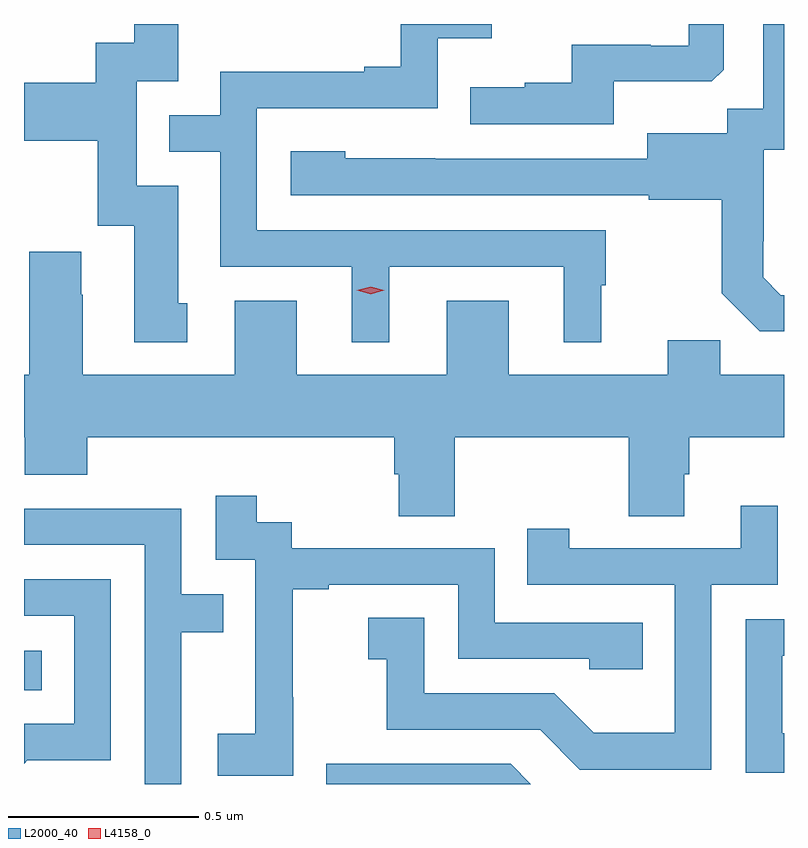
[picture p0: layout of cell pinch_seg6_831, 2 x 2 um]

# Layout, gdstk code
import gdstk
lib = gdstk.Library(unit=1e-6, precision=1e-09)
def R(c, l, rs):  # rectangles x0, y0, x1, y1
    for r in rs: c.add(gdstk.rectangle(r[:2], r[2:], *l))
def P(c, l, *ps):  # polygons
    for p in ps: c.add(gdstk.Polygon(p, *l))
L2000_40 = (2000, 40)
L4158_0 = (4158, 0)

pinch_seg6_831 = lib.new_cell('pinch_seg6_831')
R(pinch_seg6_831, L2000_40, [(191.445,990.626,191.492,990.73)])
P(pinch_seg6_831, L2000_40, [(192.997,992.228),(193.255,992.228),(193.287,992.259),(193.287,992.379),(193.194,992.379),(193.194,992.322),(193.094,992.322),(193.094,992.325),(192.887,992.325),(192.887,992.224),(192.763,992.224),(192.763,992.212),(192.619,992.212),(192.619,992.115),(192.997,992.115)],
  [(192.406,991.74),(192.866,991.74),(192.866,991.541),(192.964,991.541),(192.964,991.692),(192.976,991.692),(192.976,991.836),(192.057,991.836),(192.057,992.157),(192.534,992.157),(192.534,992.342),(192.676,992.342),(192.676,992.379),(192.436,992.379),(192.436,992.266),(192.341,992.266),(192.341,992.253),(191.961,992.253),(191.961,992.139),(191.827,992.139),(191.827,992.043),(191.961,992.043),(191.961,991.74),(192.308,991.74),(192.308,991.541),(192.406,991.541)],
  [(193.445,991.665),(193.437,991.665),(193.39,991.712),(193.39,991.807),(193.392,991.807),(193.392,992.048),(193.445,992.048),(193.445,992.379),(193.391,992.379),(193.391,992.156),(193.296,992.156),(193.296,992.092),(193.085,992.092),(193.085,992.025),(192.527,992.025),(192.527,992.026),(192.291,992.026),(192.291,992.044),(192.147,992.044),(192.147,991.929),(193.089,991.929),(193.089,991.917),(193.281,991.917),(193.281,991.671),(193.381,991.571),(193.445,991.571)],
  [(191.875,991.644),(191.851,991.644),(191.851,991.953),(191.742,991.953),(191.742,992.229),(191.851,992.229),(191.851,992.379),(191.735,992.379),(191.735,992.33),(191.634,992.33),(191.634,992.224),(191.445,992.224),(191.445,992.072),(191.639,992.072),(191.639,991.848),(191.735,991.848),(191.735,991.542),(191.875,991.542)],
  [(192.579,991.292),(193.036,991.292),(193.036,991.084),(193.183,991.084),(193.183,991.194),(193.196,991.194),(193.196,991.292),(193.445,991.292),(193.445,991.456),(193.277,991.456),(193.277,991.547),(193.139,991.547),(193.139,991.456),(192.721,991.456),(192.721,991.651),(192.557,991.651),(192.557,991.456),(192.163,991.456),(192.163,991.651),(191.999,991.651),(191.999,991.456),(191.599,991.456),(191.599,991.667),(191.596,991.667),(191.596,991.78),(191.459,991.78),(191.459,991.456),(191.445,991.456),(191.445,991.292),(191.447,991.292),(191.447,991.193),(191.612,991.193),(191.612,991.292),(192.419,991.292),(192.419,991.194),(192.431,991.194),(192.431,991.084),(192.579,991.084)],
  [(192.153,990.607),(192.152,990.607),(192.152,990.891),(192.247,990.891),(192.247,990.903),(192.588,990.903),(192.588,990.708),(192.933,990.708),(192.933,990.681),(193.073,990.681),(193.073,990.804),(192.684,990.804),(192.684,990.999),(192.15,990.999),(192.15,991.068),(192.058,991.068),(192.058,991.138),(191.949,991.138),(191.949,990.969),(192.054,990.969),(192.054,990.74),(192.053,990.74),(192.053,990.511),(191.955,990.511),(191.955,990.401),(192.153,990.401)],
  [(193.254,990.903),(193.428,990.903),(193.428,991.111),(193.331,991.111),(193.331,990.999),(192.88,990.999),(192.88,991.051),(192.769,991.051),(192.769,990.903),(193.158,990.903),(193.158,990.514),(192.944,990.514),(192.84,990.618),(192.498,990.618),(192.498,990.817),(192.351,990.817),(192.351,990.707),(192.4,990.707),(192.4,990.522),(192.803,990.522),(192.908,990.417),(193.254,990.417)],
  [(191.859,990.778),(191.969,990.778),(191.969,990.879),(191.859,990.879),(191.859,991.104),(191.445,991.104),(191.445,991.008),(191.763,991.008),(191.763,990.379),(191.859,990.379)],
  [(191.454,990.441),(191.673,990.441),(191.673,990.918),(191.445,990.918),(191.445,990.822),(191.577,990.822),(191.577,990.537),(191.445,990.537),(191.445,990.432)],
  [(193.445,990.513),(193.441,990.513),(193.441,990.717),(193.445,990.717),(193.445,990.813),(193.344,990.813),(193.344,990.408),(193.445,990.408)],
  [(192.726,990.432),(192.24,990.432),(192.24,990.379),(192.779,990.379)])
P(pinch_seg6_831, L4158_0, [(192.357,991.668),(192.321,991.678),(192.321,991.678),(192.321,991.678),(192.357,991.688),(192.393,991.678),(192.393,991.678),(192.393,991.678)])

lib.write_gds('pinch_seg6_831.gds')
